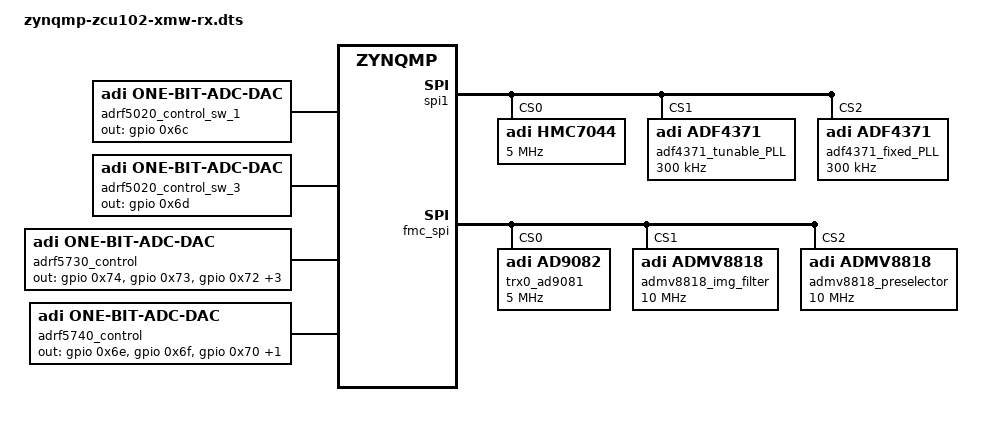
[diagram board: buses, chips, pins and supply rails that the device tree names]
// SPDX-License-Identifier: GPL-2.0
/*
 * Analog Devices 2-24 GHz XMW RX Platform
 * https://wiki.analog.com/resources/eval/developer-kits/2to24ghz-mxfe-rf-front-end
 * https://wiki.analog.com/resources/eval/user-guides/ad-fmcxmwbr1-ebz/hardware
 * https://wiki.analog.com/resources/tools-software/linux-drivers/iio-mxfe/ad9081
 *
 * hdl_project: <ad9082_fmca_ebz/zcu102>
 * board_revision: <>
 *
 * Copyright (C) 2023 Analog Devices Inc.
 */

#include "zynqmp-zcu102-rev10-ad9081.dts"

&axi_ad9081_adxcvr_rx {
	/* Switch to QPLL */
	adi,sys-clk-select = <XCVR_QPLL>;
	adi,out-clk-select = <XCVR_REFCLK_DIV2>;
};

/delete-node/ &ad9081_dac2;
/delete-node/ &ad9081_dac3;

&{/} {
	clocks {
		admv8818_rfin: clock@0 {
			#clock-cells = <0>;
			compatible = "fixed-clock";
			clock-frequency = <100000000>; /* 100MHz */
			clock-output-names = "rf_in";
		};

		adf4371_clkin: clock@1 {
			#clock-cells = <0>;
			compatible = "fixed-clock";
			clock-frequency = <100000000>; /* 100MHz */
			clock-output-names = "clkin";
		};
	};

	/* 2 x 1-bit switches controlled with GPIO pin 108 on the ZCU102
	 *
	 * gpio[0] from Pin Translation sheet corresponds to internal EMIO pin (gpio_i/gpio_o/gpio_t)[30],
	 * (refer to zynqmp-zcu102-rev10-ad9081.dts and system_top.v)
	 * which corresponds to actual IO pin 30+78 (78 MIO pins) = 108
	 */
	adrf5020_control_sw_1@0 {
		#address-cells = <1>;
		#size-cells = <0>;
		label = "adrf5020_control_sw_1";
		compatible = "adi,one-bit-adc-dac";

		out-gpios = <&gpio  0x6c 0>;

		channel@0 {
			reg = <0>;
			label = "SW_12_CTL_IN";
		};
	};

	/* 2 x 1-bit switches controlled with GPIO pin 109 on the ZCU102
	 *
	 * gpio[1] from Pin Translation sheet corresponds to internal EMIO pin (gpio_i/gpio_o/gpio_t)[31],
	 * (refer to zynqmp-zcu102-rev10-ad9081.dts and system_top.v)
	 * which corresponds to actual IO pin 31+78 (78 MIO pins) = 109
	 */
	adrf5020_control_sw_3@0 {
		#address-cells = <1>;
		#size-cells = <0>;
		label = "adrf5020_control_sw_3";
		compatible = "adi,one-bit-adc-dac";

		out-gpios = <&gpio  0x6d 0>;

		channel@0 {
			reg = <0>;
			label = "SW_34_CTL_IN";
		};
	};

	/* 6-bit DSA controlled with GPIO pins 116, 115, 114, 117, 118 and 119 on the ZCU102
	 *
	 * gpio[6:11] from Pin Translation sheet correspond to internal EMIO pins (gpio_i/gpio_o/gpio_t)[36:41],
	 * (refer to zynqmp-zcu102-rev10-ad9081.dts and system_top.v)
	 * which correspond to actual IO pins (add 78 MIO pins for each) = 114 - 119
	 */
	adrf5730_control@0 {
		#address-cells = <1>;
		#size-cells = <0>;
		label = "adrf5730_control";
		compatible = "adi,one-bit-adc-dac";

		out-gpios = <&gpio  0x74 0>, <&gpio  0x73 0>, <&gpio 0x72 0>, <&gpio  0x75 0>, <&gpio  0x76 0>, <&gpio  0x77 0>;

		channel@0 {
			reg = <0>;
			label = "DSA2_D0";
		};
		channel@1 {
			reg = <1>;
			label = "DSA2_D1";
		};
		channel@2 {
			reg = <2>;
			label = "DSA2_D2";
		};
		channel@3 {
			reg = <3>;
			label = "DSA2_D3";
		};
		channel@4 {
			reg = <4>;
			label = "DSA2_D4";
		};
		channel@5 {
			reg = <5>;
			label = "DSA2_D5";
		};
	};

	/* 4-bit DSA controlled with GPIO pins 110, 111, 112 and 113 on the ZCU102
	 *
	 * gpio[2:5] from Pin Translation sheet correspond to internal EMIO pins (gpio_i/gpio_o/gpio_t)[32:35],
	 * (refer to zynqmp-zcu102-rev10-ad9081.dts and system_top.v)
	 * which correspond to actual IO pins (add 78 MIO pins for each) = 110 - 113
	 */
	adrf5740_control@0 {
		#address-cells = <1>;
		#size-cells = <0>;
		label = "adrf5740_control";
		compatible = "adi,one-bit-adc-dac";

		out-gpios = <&gpio  0x6e 0>, <&gpio  0x6f 0>, <&gpio  0x70 0>, <&gpio  0x71 0>;

		channel@0 {
			reg = <0>;
			label = "DSA1_D2";
		};
		channel@1 {
			reg = <1>;
			label = "DSA1_D3";
		};
		channel@2 {
			reg = <2>;
			label = "DSA1_D4";
		};
		channel@3 {
			reg = <3>;
			label = "DSA1_D5";
		};
	};
};

&spi1 {
	#address-cells = <1>;
	#size-cells = <0>;
	status = "okay";
	is-decoded-cs = <0x0>;
	num-cs = <0x3>;

	hmc7044: hmc7044@0 {
		#address-cells = <1>;
		#size-cells = <0>;
		#clock-cells = <1>;
		compatible = "adi,hmc7044";
		reg = <0>;
		spi-max-frequency = <5000000>; /* 5 MHz */
		adi,spi-3wire-enable;

		jesd204-device;
		#jesd204-cells = <2>;
		jesd204-sysref-provider;

		adi,jesd204-max-sysref-frequency-hz = <2000000>; /* 2 MHz */

		/*
		 * There are different versions of the AD9081-FMCA-EBZ & AD9082-FMCA-EBZ
		 * VCXO = 122.880 MHz, XO = 122.880MHz (AD9081-FMC-EBZ & AD9082-FMC-EBZ)
		 * VCXO = 100.000 MHz, XO = 100.000MHz (AD9081-FMC-EBZ-A2 & AD9082-FMC-EBZ-A2)
		 * To determine which board is which, read the freqency printed on the VCXO
		 * or use the fru-dump utility:
		 * #fru-dump -b /sys/bus/i2c/devices/15-0050/eeprom
		 */

		//adi,pll1-clkin-frequencies = <122880000 30720000 0 0>;
		//adi,vcxo-frequency = <122880000>;

		adi,pll1-clkin-frequencies = <100000000 10000000 0 0>;
		adi,vcxo-frequency = <100000000>;

		adi,pll1-loop-bandwidth-hz = <200>;

		adi,pll2-output-frequency = <3000000000>;

		adi,sysref-timer-divider = <1024>;
		adi,pulse-generator-mode = <0>;

		adi,clkin0-buffer-mode  = <0x07>;
		adi,clkin1-buffer-mode  = <0x07>;
		adi,oscin-buffer-mode = <0x15>;

		adi,gpi-controls = <0x00 0x00 0x00 0x00>;
		adi,gpo-controls = <0x37 0x33 0x00 0x00>;

		clock-output-names =
		"hmc7044_out0", "hmc7044_out1", "hmc7044_out2",
		"hmc7044_out3", "hmc7044_out4", "hmc7044_out5",
		"hmc7044_out6", "hmc7044_out7", "hmc7044_out8",
		"hmc7044_out9", "hmc7044_out10", "hmc7044_out11",
		"hmc7044_out12", "hmc7044_out13";

		hmc7044_c0: channel@0 {
			reg = <0>;
			adi,extended-name = "CORE_CLK_RX";
			adi,divider = <12>;
			adi,driver-mode = <HMC7044_DRIVER_MODE_LVDS>;
		};
		hmc7044_c2: channel@2 {
			reg = <2>;
			adi,extended-name = "DEV_REFCLK";
			adi,divider = <12>;
			adi,driver-mode = <HMC7044_DRIVER_MODE_LVDS>;
		};
		hmc7044_c3: channel@3 {
			reg = <3>;
			adi,extended-name = "DEV_SYSREF";
			adi,divider = <1536>;
			adi,driver-mode = <HMC7044_DRIVER_MODE_LVDS>;
			adi,jesd204-sysref-chan;
		};

		hmc7044_c6: channel@6 {
			reg = <6>;
			adi,extended-name = "CORE_CLK_TX";
			adi,divider = <12>;
			adi,driver-mode = <HMC7044_DRIVER_MODE_LVDS>;
		};

		hmc7044_c8: channel@8 {
			reg = <8>;
			adi,extended-name = "FPGA_REFCLK1";
			adi,divider = <6>;
			adi,driver-mode = <HMC7044_DRIVER_MODE_LVDS>;
		};
		hmc7044_c10: channel@10 {
			reg = <10>;
			adi,extended-name = "CORE_CLK_RX_ALT";
			adi,divider = <12>;
			adi,driver-mode = <HMC7044_DRIVER_MODE_LVDS>;
		};

		hmc7044_c12: channel@12 {
			reg = <12>;
			adi,extended-name = "FPGA_REFCLK2";
			adi,divider = <4>;
			adi,driver-mode = <HMC7044_DRIVER_MODE_LVDS>;
		};
		hmc7044_c13: channel@13 {
			reg = <13>;
			adi,extended-name = "FPGA_SYSREF";
			adi,divider = <1536>;
			adi,driver-mode = <HMC7044_DRIVER_MODE_LVDS>;
			adi,jesd204-sysref-chan;
		};
	};

	adf4371@1 {
		#address-cells = <1>;
		#size-cells = <0>;
		label = "adf4371_tunable_PLL";
		compatible = "adi,adf4371";
		/* SPI */
		reg = <1>; // CS1 on SPI2 aka spi1
		adi,spi-3wire-enable;
		spi-max-frequency = <300000>; /* 300 kHz */
		/* Clocks */
		#clock-cells = <1>;
		clocks = <&adf4371_clkin>;
		clock-names = "clkin";
		clock-output-names = "tunable_pll-clk-rf8", "tunable_pll-clk-rfaux8", "tunable_pll-clk-rf16", "tunable_pll-clk-rf32";
		clock-scales = <1 10>;

		adi,muxout-select = <1>;

		channel@0 {
			reg = <0>;
			//adi,output-enable;
			//adi,power-up-frequency = /bits/ 64 <4500000000>; /* 4.5 GHz */
		};
		channel@1 {
			reg = <1>;
			//adi,output-enable;
			//adi,power-up-frequency = /bits/ 64 <4500000000>; /* 4.5 GHz */
		};
		channel@2 {
			reg = <2>;
			//adi,output-enable;
			//adi,power-up-frequency = /bits/ 64 <9000000000>; /* 9 GHz */
		};
		channel@3 {
			reg = <3>;
			adi,output-enable;
			adi,power-up-frequency = /bits/ 64 <18000000000>; /* 18 GHz */
		};
	};

	adf4371@2 {
		#address-cells = <1>;
		#size-cells = <0>;
		label = "adf4371_fixed_PLL";
		compatible = "adi,adf4371";
		/* SPI */
		reg = <2>; // CS2 on SPI2 aka spi1
		adi,spi-3wire-enable;
		spi-max-frequency = <300000>;
		/* Clocks */
		#clock-cells = <1>;
		clocks = <&adf4371_clkin>;
		clock-names = "clkin";
		clock-output-names = "fixed_pll-clk-rf8", "fixed_pll-clk-rfaux8", "fixed_pll-clk-rf16", "fixed_pll-clk-rf32";
		clock-scales = <1 10>;

		adi,muxout-select = <1>;

		channel@0 {
			reg = <0>;
			//adi,output-enable;
			//adi,power-up-frequency = /bits/ 64 <4500000000>; /* 4.5 GHz */
		};
		channel@1 {
			reg = <1>;
			//adi,output-enable;
			//adi,power-up-frequency = /bits/ 64 <4500000000>; /* 4.5 GHz */
		};
		channel@2 {
			reg = <2>;
			//adi,output-enable;
			//adi,power-up-frequency = /bits/ 64 <9000000000>; /* 9 GHz */
		};
		channel@3 {
			reg = <3>;
			adi,output-enable;
			adi,power-up-frequency = /bits/ 64 <18000000000>; /* 18 GHz */
		};
	};
};

&fmc_spi {
	#address-cells = <1>;
	#size-cells = <0>;
	status = "okay";
	is-decoded-cs = <0x0>;
	num-cs = <0x3>;

	trx0_ad9081: ad9081@0 {
		compatible = "adi,ad9082";
		reg = <0>;
		spi-max-frequency = <5000000>; /* 5 MHz */

		/* Clocks */
		clocks = <&hmc7044 2>;
		clock-names = "dev_clk";

		clock-output-names = "rx_sampl_clk", "tx_sampl_clk";
		#clock-cells = <1>;

		jesd204-device;
		#jesd204-cells = <2>;
		jesd204-top-device = <0>; /* This is the TOP device */
		jesd204-link-ids = <FRAMER_LINK0_RX DEFRAMER_LINK0_TX>;

		jesd204-inputs =
			<&axi_ad9081_core_rx 0 FRAMER_LINK0_RX>,
			<&axi_ad9081_core_tx 0 DEFRAMER_LINK0_TX>;

		adi,tx-dacs {
			adi,dac-frequency-hz = /bits/ 64 <12000000000>; /* 12 GHz */

			adi,main-data-paths {
				adi,interpolation = <8>;

				ad9081_dac0: dac@0 {
					reg = <0>;
					adi,crossbar-select = <&ad9081_tx_fddc_chan0>;
					adi,nco-frequency-shift-hz = /bits/ 64 <1000000000>; /* 1000 MHz */
				};
				ad9081_dac1: dac@1 {
					reg = <1>;
					adi,crossbar-select = <&ad9081_tx_fddc_chan1>;
					adi,nco-frequency-shift-hz = /bits/ 64 <1100000000>; /* 1100 MHz */
				};
			};

			adi,channelizer-paths {
				adi,interpolation = <1>;

				ad9081_tx_fddc_chan0: channel@0 {
					reg = <0>;
					adi,gain = <2048>; /* 2048 * 10^(gain_dB/20) */
					adi,nco-frequency-shift-hz =  /bits/ 64 <0>;
				};
				ad9081_tx_fddc_chan1: channel@1 {
					reg = <1>;
					adi,gain = <2048>; /* 2048 * 10^(gain_dB/20) */
					adi,nco-frequency-shift-hz =  /bits/ 64 <0>;
				};
			};

			adi,jesd-links {

				ad9081_tx_jesd_l0: link@0 {
					reg = <0>;
					adi,logical-lane-mapping = /bits/ 8 <0 2 7 6 1 5 4 3>;

					adi,link-mode = <17>; /* JESD Quick Configuration Mode */
					adi,subclass = <1>; /* JESD SUBCLASS 0,1,2 */
					adi,version = <1>; /* JESD VERSION 0=204A,1=204B,2=204C */
					adi,dual-link = <0>; /* JESD Dual Link Mode */

					adi,converters-per-device = <4>; /* JESD M */
					adi,octets-per-frame = <1>; /* JESD F */

					adi,frames-per-multiframe = <32>; /* JESD K */
					adi,converter-resolution = <16>; /* JESD N */
					adi,bits-per-sample = <16>; /* JESD NP' */
					adi,control-bits-per-sample = <0>; /* JESD CS */
					adi,lanes-per-device = <8>; /* JESD L */
					adi,samples-per-converter-per-frame = <1>; /* JESD S */
					adi,high-density = <1>; /* JESD HD */

					adi,tpl-phase-adjust = <6>;
				};
			};
		};

		adi,rx-adcs {
			adi,adc-frequency-hz = /bits/ 64 <6000000000>; /* 6 GHz */

			adi,main-data-paths {

				ad9081_adc0: adc@0 {
					reg = <0>;
					adi,decimation = <4>;
					adi,nco-frequency-shift-hz = /bits/ 64 <1000000000>; /* 1 GHz */
					adi,nco-mixer-mode = <AD9081_ADC_NCO_VIF>;
					//adi,crossbar-select = <&ad9081_rx_fddc_chan0>, <&ad9081_rx_fddc_chan2>; /* Static for now */
				};
				ad9081_adc1: adc@1 {
					reg = <1>;
					adi,decimation = <4>;
					adi,nco-frequency-shift-hz = /bits/ 64 <(1000000000)>; /* 1 GHz */
					adi,nco-mixer-mode = <AD9081_ADC_NCO_VIF>;
					//adi,crossbar-select = <&ad9081_rx_fddc_chan1>, <&ad9081_rx_fddc_chan3>; /* Static for now */
				};
			};

			adi,channelizer-paths {

				ad9081_rx_fddc_chan0: channel@0 {
					reg = <0>;
					adi,decimation = <1>;
					adi,gain = <2048>; /* 2048 * 10^(gain_dB/20) */
					adi,nco-frequency-shift-hz =  /bits/ 64 <0>;
				};
				ad9081_rx_fddc_chan1: channel@1 {
					reg = <1>;
					adi,decimation = <1>;
					adi,gain = <2048>; /* 2048 * 10^(gain_dB/20) */
					adi,nco-frequency-shift-hz =  /bits/ 64 <0>;
				};
			};

			adi,jesd-links {

				ad9081_rx_jesd_l0: link@0 {
					reg = <0>;
					adi,converter-select =
						<&ad9081_rx_fddc_chan0 FDDC_I>, <&ad9081_rx_fddc_chan0 FDDC_Q>,
						<&ad9081_rx_fddc_chan1 FDDC_I>, <&ad9081_rx_fddc_chan1 FDDC_Q>;

					adi,logical-lane-mapping = /bits/ 8 <2 0 7 6 5 4 3 1>;

					adi,link-mode = <18>; /* JESD Quick Configuration Mode */
					adi,subclass = <1>; /* JESD SUBCLASS 0,1,2 */
					adi,version = <1>; /* JESD VERSION 0=204A,1=204B,2=204C */
					adi,dual-link = <0>; /* JESD Dual Link Mode */

					adi,converters-per-device = <4>; /* JESD M */
					adi,octets-per-frame = <1>; /* JESD F */

					adi,frames-per-multiframe = <32>; /* JESD K */
					adi,converter-resolution = <16>; /* JESD N */
					adi,bits-per-sample = <16>; /* JESD NP' */
					adi,control-bits-per-sample = <0>; /* JESD CS */
					adi,lanes-per-device = <8>; /* JESD L */
					adi,samples-per-converter-per-frame = <1>; /* JESD S */
					adi,high-density = <1>; /* JESD HD */
				};
			};
		};
	};

	admv8818@1{
		label = "admv8818_img_filter";
		compatible = "adi,admv8818";
		/* SPI */
		reg = <1>; /* CS1 on SPI1 aka spi0 */
		spi-max-frequency = <10000000>; /* 10 MHz */
		clocks = <&admv8818_rfin>;
		clock-scales = <1 50>;
		clock-names = "rf_in";
		adi,bw-hz = /bits/ 64 <600000000>; /* 600 MHz */
	};

	admv8818@2{
		compatible = "adi,admv8818";
		label = "admv8818_preselector";
		/* SPI */
		reg = <2>; // CS2 on SPI1 aka spi0
		spi-max-frequency = <10000000>; /* 10 MHz */
		clocks = <&admv8818_rfin>;
		clock-scales = <1 50>;
		clock-names = "rf_in";
		adi,bw-hz = /bits/ 64 <600000000>; /* 600 MHz */
	};
};
